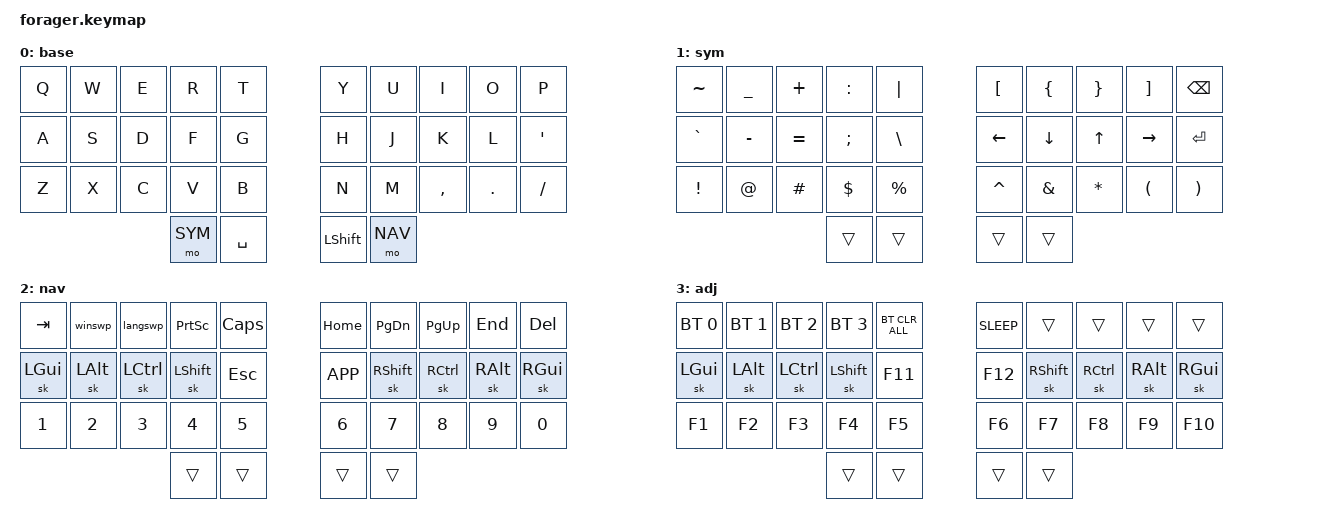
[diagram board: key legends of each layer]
#include <behaviors.dtsi>
#include <dt-bindings/zmk/keys.h>
#include <dt-bindings/zmk/bt.h>
#include <dt-bindings/zmk/outputs.h>

#define BASE 0
#define NAV  1
#define SYM  2
#define ADJ  3

#define AS(keycode) &as LS(keycode) keycode     // Autoshift Macro
#define MEH LS(LC(LALT))

/ {
    behaviors {
        as: auto_shift {
            compatible = "zmk,behavior-hold-tap";
            #binding-cells = <2>;
            tapping-term-ms = <250>;
            require-prior-idle-ms = <100>;
            flavor = "tap-preferred";
            bindings = <&kp>, <&kp>;
        };
        ht: hold_tap {
            compatible = "zmk,behavior-hold-tap";
            #binding-cells = <2>;
            tapping-term-ms = <200>;
            flavor = "balanced";
            bindings = <&kp>, <&kp>;
        };
        sabk: shift_to_alt_backspace {
            compatible = "zmk,behavior-mod-morph";
            #binding-cells = <0>;
            bindings = <&kp BSPC>, <&kp LA(BSPC)>;
            mods = <(MOD_LSFT|MOD_RSFT)>;
        };
        smart_shift: smart_shift {
            compatible = "zmk,behavior-mod-morph";
            #binding-cells = <0>;
            bindings = <&sk LSHFT>, <&caps_word>;
            mods = <(MOD_LSFT|MOD_RSFT)>;
        };
        lhm: left_homerow_mods {
            compatible = "zmk,behavior-hold-tap";
            #binding-cells = <2>;
            flavor = "balanced";
            tapping-term-ms = <280>;
            quick-tap-ms = <175>;
            require-prior-idle-ms = <150>;
            bindings = <&kp>, <&kp>;
            hold-trigger-key-positions = <5 6 7 8 9 15 16 17 18 19 25 26 27 28 29 30 31 32 33>;
        };
        rhm: right_homerow_mods {
            compatible = "zmk,behavior-hold-tap";
            #binding-cells = <2>;
            flavor = "balanced";
            tapping-term-ms = <280>;
            quick-tap-ms = <175>;
            require-prior-idle-ms = <150>;
            bindings = <&kp>, <&kp>;
            hold-trigger-key-positions = <0 1 2 3 4 10 11 12 13 14 20 21 22 23 24 30 31 32 33>;
        };
        winswp: windowswapper {
            compatible = "zmk,behavior-tri-state";
            label = "WINSWP";
            #binding-cells = <0>;
            bindings = <&kt LALT>, <&kp TAB>, <&kt LALT>;
            ignored-key-positions = <>;
        };
        langswp: languageswapper {
            compatible = "zmk,behavior-tri-state";
            label = "LANGSWP";
            #binding-cells = <0>;
            bindings = <&kt LGUI>, <&kp SPACE>, <&kt LGUI>;
            ignored-key-positions = <>;
        };
    };

    conditional_layers {
        compatible = "zmk,conditional-layers";
        tri_layer {
            if-layers = <1 2>;
            then-layer = <3>;
        };
    };

    keymap {
        compatible = "zmk,keymap";

        base {
            bindings = <
            &kp Q           &kp W           &kp E           &kp R           &kp T                                           &kp Y           &kp U           &kp I           &kp O           &kp P
            &kp A           &kp S           &kp D           &kp F           &kp G                                           &kp H           &kp J           &kp K           &kp L           &kp SQT
            &kp Z           &kp X           &kp C           &kp V           &kp B                                           &kp N           &kp M           &kp COMMA       &kp DOT         &kp FSLH
                                                                            &mo SYM         &kp SPACE       &kp LSHFT       &mo NAV
            >;
        };
        sym {
            bindings = <
            &kp TILDE       &kp UNDER       &kp PLUS        &kp COLON       &kp PIPE                                        &kp LBKT        &kp LBRC        &kp RBRC        &kp RBKT        &kp BSPC
            &kp GRAVE       &kp MINUS       &kp EQUAL       &kp SEMI        &kp BSLH                                        &kp LEFT        &kp DOWN        &kp UP          &kp RIGHT       &kp RET
            &kp EXCL        &kp AT          &kp HASH        &kp DLLR        &kp PRCNT                                       &kp CARET       &kp AMPS        &kp ASTRK       &kp LPAR        &kp RPAR  
                                                                            &trans          &trans          &trans          &trans
            >;
        };

        nav {
            bindings = <
            &kp TAB         &winswp         &langswp        &kp PSCRN       &kp CAPS                                        &kp HOME        &kp PAGE_DOWN   &kp PAGE_UP     &kp END         &kp DELETE
            &sk LGUI        &sk LALT        &sk LCTRL       &sk LSHFT       &kp ESC                                         &kp K_APP       &sk RSHFT       &sk RCTRL       &sk RALT        &sk RGUI
            &kp N1          &kp N2          &kp N3          &kp N4          &kp N5                                          &kp N6          &kp N7          &kp N8          &kp N9          &kp N0
                                                                            &trans          &trans          &trans          &trans
            >;
        };       

        adj {
            bindings = <
            &bt BT_SEL 0    &bt BT_SEL 1    &bt BT_SEL 2    &bt BT_SEL 3    &bt BT_CLR_ALL                                  &kp C_SLEEP     &trans          &trans          &trans          &trans
            &sk LGUI        &sk LALT        &sk LCTRL       &sk LSHFT       &kp F11                                         &kp F12         &sk RSHFT       &sk RCTRL       &sk RALT        &sk RGUI
            &kp F1          &kp F2          &kp F3          &kp F4          &kp F5                                          &kp F6          &kp F7          &kp F8          &kp F9          &kp F10
                                                                            &trans          &trans          &trans          &trans
            >;
        };
    };
};

&lt {
    // require-prior-idle-ms = <100>;
    tapping-term-ms = <150>;
    quick-tap-ms = <200>;
};

&mt {
    quick-tap-ms = <200>;
};

&sk {
    release-after-ms = <500>;
    quick-release;
};
